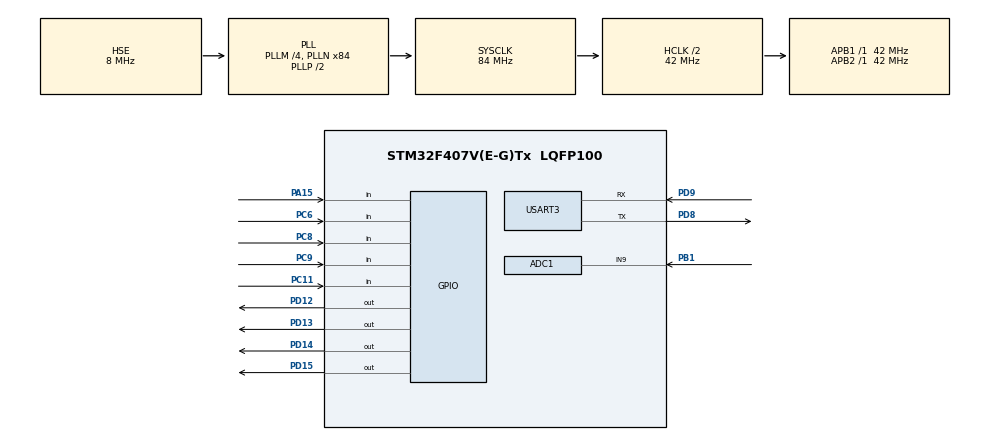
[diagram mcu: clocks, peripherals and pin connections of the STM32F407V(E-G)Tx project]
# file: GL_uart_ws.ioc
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ADC1.Channel-0\#ChannelRegularConversion=ADC_CHANNEL_9
ADC1.ClockPrescaler=ADC_CLOCK_SYNC_PCLK_DIV4
ADC1.ContinuousConvMode=ENABLE
ADC1.NbrOfConversionFlag=1
ADC1.Rank-0\#ChannelRegularConversion=1
ADC1.SamplingTime-0\#ChannelRegularConversion=ADC_SAMPLETIME_112CYCLES
ADC1.master=1
Mcu.Family=STM32F4
Mcu.Name=STM32F407V(E-G)Tx
Mcu.Package=LQFP100
NVIC.ADC_IRQn=true\:0\:0\:false\:false\:true\:true\:true
NVIC.PriorityGroup=NVIC_PRIORITYGROUP_4
NVIC.USART3_IRQn=true\:0\:0\:false\:false\:true\:true\:true
PA15.Signal=GPIO_Input
PB1.Signal=ADCx_IN9
PC11.Signal=GPIO_Input
PC6.Signal=GPIO_Input
PC8.Signal=GPIO_Input
PC9.Signal=GPIO_Input
PD12.Signal=GPIO_Output
PD13.Signal=GPIO_Output
PD14.Signal=GPIO_Output
PD15.Signal=GPIO_Output
PD8.Mode=Asynchronous
PD8.Signal=USART3_TX
PD9.Mode=Asynchronous
PD9.Signal=USART3_RX
PH0-OSC_IN.Mode=HSE-External-Oscillator
PH0-OSC_IN.Signal=RCC_OSC_IN
PH1-OSC_OUT.Mode=HSE-External-Oscillator
PH1-OSC_OUT.Signal=RCC_OSC_OUT
ProjectManager.HeapSize=0x200
ProjectManager.StackSize=0x400
ProjectManager.TargetToolchain=STM32CubeIDE
RCC.48MHZClocksFreq_Value=42000000
RCC.AHBCLKDivider=RCC_SYSCLK_DIV2
RCC.AHBFreq_Value=42000000
RCC.APB1Freq_Value=42000000
RCC.APB1TimFreq_Value=42000000
RCC.APB2Freq_Value=42000000
RCC.APB2TimFreq_Value=42000000
RCC.CortexFreq_Value=42000000
RCC.HCLKFreq_Value=42000000
RCC.HSE_VALUE=8000000
RCC.HSI_VALUE=16000000
RCC.LSE_VALUE=32768
RCC.PLLM=4
RCC.PLLN=84
RCC.PLLSourceVirtual=RCC_PLLSOURCE_HSE
RCC.SYSCLKFreq_VALUE=84000000
RCC.SYSCLKSource=RCC_SYSCLKSOURCE_PLLCLK
RCC.VCOOutputFreq_Value=168000000
SH.ADCx_IN9.0=ADC1_IN9,IN9
USART3.VirtualMode=VM_ASYNC
board=custom

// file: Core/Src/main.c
/* USER CODE BEGIN Header */
/**
  ******************************************************************************
  * @file           : main.c
  * @brief          : Main program body
  ******************************************************************************
  * @attention
  *
  * <h2><center>&copy; Copyright (c) 2023 STMicroelectronics.
  * All rights reserved.</center></h2>
  *
  * This software component is licensed by ST under BSD 3-Clause license,
  * the "License"; You may not use this file except in compliance with the
  * License. You may obtain a copy of the License at:
  *                        opensource.org/licenses/BSD-3-Clause
  *
  ******************************************************************************
  */
/* USER CODE END Header */
#include "main.h"
#include "stdbool.h"

ADC_HandleTypeDef hadc1;

UART_HandleTypeDef huart3;

void SystemClock_Config(void);
static void MX_GPIO_Init(void);
static void MX_ADC1_Init(void);
static void MX_USART3_UART_Init(void);
/* USER CODE BEGIN PFP */
void HAL_UART_RxCpltCallback(UART_HandleTypeDef *huart);
/* USER CODE END PFP */

/* USER CODE BEGIN 0 */
	uint16_t USART3_Data_transmit[80] = {0};
	uint8_t USART3_Data_receive[1] = {0};

	uint32_t TimerClock = 0;

	uint32_t TimerButDebon = 0;

	uint8_t LED_Blue_state = 0;
	uint8_t LED_Green_state = 0;
	uint8_t LED_Orange_state = 0;
	uint8_t LED_Red_state = 0;
/* USER CODE END 0 */

int main(void)
{

  /* MCU Configuration--------------------------------------------------------*/

  /* Reset of all peripherals, Initializes the Flash interface and the Systick. */
  HAL_Init();

  /* Configure the system clock */
  SystemClock_Config();

  /* Initialize all configured peripherals */
  MX_GPIO_Init();
  MX_ADC1_Init();
  MX_USART3_UART_Init();

  /* Infinite loop */
  /* USER CODE BEGIN WHILE */
  while (1)
  {
	  HAL_StatusTypeDef result;
///////////////////TEST1////////

	  /*
	  if(HAL_GetTick()-TimerClock > 1000){
	  TimerClock = HAL_GetTick();
		  HAL_UART_Transmit_IT(&huart3, "Usart3_Test\r\n", sizeof("Usart3_Test\r\n"));

	  }

	  */
//////////////////Button WORK//////////////

	  if(HAL_GPIO_ReadPin(GPIOC, GPIO_PIN_11) == 0 && HAL_GetTick()-TimerButDebon > 300){
		  TimerButDebon = HAL_GetTick();

			switch(LED_Blue_state){
			case 0:
				LED_Blue_state = 1;
				HAL_GPIO_WritePin(GPIOD, GPIO_PIN_15, SET);
				HAL_UART_Transmit_IT(&huart3, "Blue ON\r\n", sizeof("Blue ON\r\n"));
				break;
			case 1:
				LED_Blue_state = 0;
				HAL_GPIO_WritePin(GPIOD, GPIO_PIN_15, RESET);
				HAL_UART_Transmit_IT(&huart3, "Blue Off\r\n", sizeof("Blue Off\r\n"));
				break;
			}

	  	  }
	  if(HAL_GPIO_ReadPin(GPIOC, GPIO_PIN_8) == 0 && HAL_GetTick()-TimerButDebon > 300){
		  TimerButDebon = HAL_GetTick();

			switch(LED_Green_state){
			case 0:
				LED_Green_state = 1;
				HAL_GPIO_WritePin(GPIOD, GPIO_PIN_12, SET);
				HAL_UART_Transmit_IT(&huart3, "Green ON\r\n", sizeof("Green ON\r\n"));
				break;
			case 1:
				LED_Green_state = 0;
				HAL_GPIO_WritePin(GPIOD, GPIO_PIN_12, RESET);
				HAL_UART_Transmit_IT(&huart3, "Green Off\r\n", sizeof("Green Off\r\n"));
				break;
			}
	  }

	  if(HAL_GPIO_ReadPin(GPIOC, GPIO_PIN_9) == 0 && HAL_GetTick()-TimerButDebon > 300){
	  		  TimerButDebon = HAL_GetTick();

	  			switch(LED_Orange_state){
	  			case 0:
	  				LED_Orange_state = 1;
	  				HAL_GPIO_WritePin(GPIOD, GPIO_PIN_13, SET);
	  				HAL_UART_Transmit_IT(&huart3, "Orange ON\r\n", sizeof("Orange ON\r\n"));
	  				break;
	  			case 1:
	  				LED_Orange_state = 0;
	  				HAL_GPIO_WritePin(GPIOD, GPIO_PIN_13, RESET);
	  				HAL_UART_Transmit_IT(&huart3, "Orange Off\r\n", sizeof("Orange Off\r\n"));
	  				break;
	  			}
	  	  }

	  if(HAL_GPIO_ReadPin(GPIOC, GPIO_PIN_6) == 0 && HAL_GetTick()-TimerButDebon > 300){
				  TimerButDebon = HAL_GetTick();

					switch(LED_Red_state){
					case 0:
						LED_Red_state = 1;
						HAL_GPIO_WritePin(GPIOD, GPIO_PIN_14, SET);
						HAL_UART_Transmit_IT(&huart3, "Red ON\r\n", sizeof("Red ON\r\n"));
						break;
					case 1:
						LED_Red_state = 0;
						HAL_GPIO_WritePin(GPIOD, GPIO_PIN_14, RESET);
						HAL_UART_Transmit_IT(&huart3, "Red Off\r\n", sizeof("Red Off\r\n"));
						break;
					}
			  }
//////////////////////WORK USART///////////////////
	result =  HAL_UART_Receive(&huart3, USART3_Data_receive, 2,10);

	if (result == HAL_OK){

		////Green/////
		if(USART3_Data_receive[0] == 'G' && USART3_Data_receive[1] == '1'){
			LED_Green_state = 1;
			HAL_UART_Transmit_IT(&huart3, "Green ON\r\n", sizeof("Green ON\r\n"));
			HAL_GPIO_WritePin(GPIOD, GPIO_PIN_12, SET);
		}

		if(USART3_Data_receive[0] == 'G' && USART3_Data_receive[1] == '0'){
			LED_Green_state = 0;
			HAL_UART_Transmit_IT(&huart3, "Green Off\r\n", sizeof("Green Off\r\n"));
			HAL_GPIO_WritePin(GPIOD, GPIO_PIN_12, RESET);

		}
		////Orange/////
		if(USART3_Data_receive[0] == 'O' && USART3_Data_receive[1] == '1'){
			LED_Orange_state = 1;
			HAL_UART_Transmit_IT(&huart3, "Orange ON\r\n", sizeof("Orange ON\r\n"));
			HAL_GPIO_WritePin(GPIOD, GPIO_PIN_13, SET);
		}
		if(USART3_Data_receive[0] == 'O' && USART3_Data_receive[1] == '0'){
			LED_Orange_state = 0;
			HAL_UART_Transmit_IT(&huart3, "Orange Off\r\n", sizeof("Orange Off\r\n"));
			HAL_GPIO_WritePin(GPIOD, GPIO_PIN_13, RESET);
		}
		////Red/////
		if(USART3_Data_receive[0] == 'R' && USART3_Data_receive[1] == '1'){
			LED_Red_state = 1;
			HAL_UART_Transmit_IT(&huart3, "Red ON\r\n", sizeof("Red ON\r\n"));
			HAL_GPIO_WritePin(GPIOD, GPIO_PIN_14, SET);
				}
		if(USART3_Data_receive[0] == 'R' && USART3_Data_receive[1] == '0'){
			LED_Red_state = 0;
			HAL_UART_Transmit_IT(&huart3, "Red Off\r\n", sizeof("Red Off\r\n"));
			HAL_GPIO_WritePin(GPIOD, GPIO_PIN_14, RESET);
			}
		////Blue/////
		if(USART3_Data_receive[0] == 'B' && USART3_Data_receive[1] == '1'){
			LED_Blue_state = 1;
			HAL_UART_Transmit_IT(&huart3, "Blue ON\r\n", sizeof("Blue ON\r\n"));
			HAL_GPIO_WritePin(GPIOD, GPIO_PIN_15, SET);
			}
		if(USART3_Data_receive[0] == 'B' && USART3_Data_receive[1] == '0'){
			LED_Blue_state = 0;
			HAL_UART_Transmit_IT(&huart3, "Blue Off\r\n", sizeof("Blue Off\r\n"));
			HAL_GPIO_WritePin(GPIOD, GPIO_PIN_15, RESET);
			}

	}

    /* USER CODE END WHILE */

    /* USER CODE BEGIN 3 */
  }

  void HAL_UART_RxCpltCallback(UART_HandleTypeDef *huart){

	 if (huart == &huart3 ){

		 HAL_GPIO_WritePin(GPIOD, GPIO_PIN_13, SET);
		  if(USART3_Data_receive == "DED"){
			  LED_Green_state = 1;
			HAL_GPIO_WritePin(GPIOD, GPIO_PIN_12, SET);
			//HAL_UART_Transmit_IT(&huart3, "Green ON\r\n", sizeof("Green ON\r\n"));
		  }

		  if(USART3_Data_receive == "Green_turnOff"){
			  LED_Green_state = 0;
			HAL_GPIO_WritePin(GPIOD, GPIO_PIN_12, RESET);
			HAL_UART_Transmit_IT(&huart3, "Green Off\r\n", sizeof("Green Off\r\n"));
		  }

	  }

  }

  /* USER CODE END 3 */
}

void SystemClock_Config(void)
{
  RCC_OscInitTypeDef RCC_OscInitStruct = {0};
  RCC_ClkInitTypeDef RCC_ClkInitStruct = {0};

  /** Configure the main internal regulator output voltage
  */
  __HAL_RCC_PWR_CLK_ENABLE();
  __HAL_PWR_VOLTAGESCALING_CONFIG(PWR_REGULATOR_VOLTAGE_SCALE1);
  /** Initializes the RCC Oscillators according to the specified parameters
  * in the RCC_OscInitTypeDef structure.
  */
  RCC_OscInitStruct.OscillatorType = RCC_OSCILLATORTYPE_HSE;
  RCC_OscInitStruct.HSEState = RCC_HSE_ON;
  RCC_OscInitStruct.PLL.PLLState = RCC_PLL_ON;
  RCC_OscInitStruct.PLL.PLLSource = RCC_PLLSOURCE_HSE;
  RCC_OscInitStruct.PLL.PLLM = 4;
  RCC_OscInitStruct.PLL.PLLN = 84;
  RCC_OscInitStruct.PLL.PLLP = RCC_PLLP_DIV2;
  RCC_OscInitStruct.PLL.PLLQ = 4;
  if (HAL_RCC_OscConfig(&RCC_OscInitStruct) != HAL_OK)
  {
    Error_Handler();
  }
  /** Initializes the CPU, AHB and APB buses clocks
  */
  RCC_ClkInitStruct.ClockType = RCC_CLOCKTYPE_HCLK|RCC_CLOCKTYPE_SYSCLK
                              |RCC_CLOCKTYPE_PCLK1|RCC_CLOCKTYPE_PCLK2;
  RCC_ClkInitStruct.SYSCLKSource = RCC_SYSCLKSOURCE_PLLCLK;
  RCC_ClkInitStruct.AHBCLKDivider = RCC_SYSCLK_DIV2;
  RCC_ClkInitStruct.APB1CLKDivider = RCC_HCLK_DIV1;
  RCC_ClkInitStruct.APB2CLKDivider = RCC_HCLK_DIV1;

  if (HAL_RCC_ClockConfig(&RCC_ClkInitStruct, FLASH_LATENCY_1) != HAL_OK)
  {
    Error_Handler();
  }
}

static void MX_ADC1_Init(void)
{

  ADC_ChannelConfTypeDef sConfig = {0};

  /** Configure the global features of the ADC (Clock, Resolution, Data Alignment and number of conversion)
  */
  hadc1.Instance = ADC1;
  hadc1.Init.ClockPrescaler = ADC_CLOCK_SYNC_PCLK_DIV4;
  hadc1.Init.Resolution = ADC_RESOLUTION_12B;
  hadc1.Init.ScanConvMode = DISABLE;
  hadc1.Init.ContinuousConvMode = ENABLE;
  hadc1.Init.DiscontinuousConvMode = DISABLE;
  hadc1.Init.ExternalTrigConvEdge = ADC_EXTERNALTRIGCONVEDGE_NONE;
  hadc1.Init.ExternalTrigConv = ADC_SOFTWARE_START;
  hadc1.Init.DataAlign = ADC_DATAALIGN_RIGHT;
  hadc1.Init.NbrOfConversion = 1;
  hadc1.Init.DMAContinuousRequests = DISABLE;
  hadc1.Init.EOCSelection = ADC_EOC_SINGLE_CONV;
  if (HAL_ADC_Init(&hadc1) != HAL_OK)
  {
    Error_Handler();
  }
  /** Configure for the selected ADC regular channel its corresponding rank in the sequencer and its sample time.
  */
  sConfig.Channel = ADC_CHANNEL_9;
  sConfig.Rank = 1;
  sConfig.SamplingTime = ADC_SAMPLETIME_112CYCLES;
  if (HAL_ADC_ConfigChannel(&hadc1, &sConfig) != HAL_OK)
  {
    Error_Handler();
  }

}

static void MX_USART3_UART_Init(void)
{

  huart3.Instance = USART3;
  huart3.Init.BaudRate = 115200;
  huart3.Init.WordLength = UART_WORDLENGTH_8B;
  huart3.Init.StopBits = UART_STOPBITS_1;
  huart3.Init.Parity = UART_PARITY_NONE;
  huart3.Init.Mode = UART_MODE_TX_RX;
  huart3.Init.HwFlowCtl = UART_HWCONTROL_NONE;
  huart3.Init.OverSampling = UART_OVERSAMPLING_16;
  if (HAL_UART_Init(&huart3) != HAL_OK)
  {
    Error_Handler();
  }

}

static void MX_GPIO_Init(void)
{
  GPIO_InitTypeDef GPIO_InitStruct = {0};

  /* GPIO Ports Clock Enable */
  __HAL_RCC_GPIOH_CLK_ENABLE();
  __HAL_RCC_GPIOB_CLK_ENABLE();
  __HAL_RCC_GPIOD_CLK_ENABLE();
  __HAL_RCC_GPIOC_CLK_ENABLE();
  __HAL_RCC_GPIOA_CLK_ENABLE();

  /*Configure GPIO pin Output Level */
  HAL_GPIO_WritePin(GPIOD, GPIO_PIN_12|GPIO_PIN_13|GPIO_PIN_14|GPIO_PIN_15, GPIO_PIN_RESET);

  /*Configure GPIO pins : PD12 PD13 PD14 PD15 */
  GPIO_InitStruct.Pin = GPIO_PIN_12|GPIO_PIN_13|GPIO_PIN_14|GPIO_PIN_15;
  GPIO_InitStruct.Mode = GPIO_MODE_OUTPUT_PP;
  GPIO_InitStruct.Pull = GPIO_NOPULL;
  GPIO_InitStruct.Speed = GPIO_SPEED_FREQ_LOW;
  HAL_GPIO_Init(GPIOD, &GPIO_InitStruct);

  /*Configure GPIO pins : PC6 PC8 PC9 PC11 */
  GPIO_InitStruct.Pin = GPIO_PIN_6|GPIO_PIN_8|GPIO_PIN_9|GPIO_PIN_11;
  GPIO_InitStruct.Mode = GPIO_MODE_INPUT;
  GPIO_InitStruct.Pull = GPIO_NOPULL;
  HAL_GPIO_Init(GPIOC, &GPIO_InitStruct);

  /*Configure GPIO pin : PA15 */
  GPIO_InitStruct.Pin = GPIO_PIN_15;
  GPIO_InitStruct.Mode = GPIO_MODE_INPUT;
  GPIO_InitStruct.Pull = GPIO_NOPULL;
  HAL_GPIO_Init(GPIOA, &GPIO_InitStruct);

}

void Error_Handler(void)
{
  __disable_irq();
  while (1)
  {
  }
}

/************************ (C) COPYRIGHT STMicroelectronics *****END OF FILE****/
